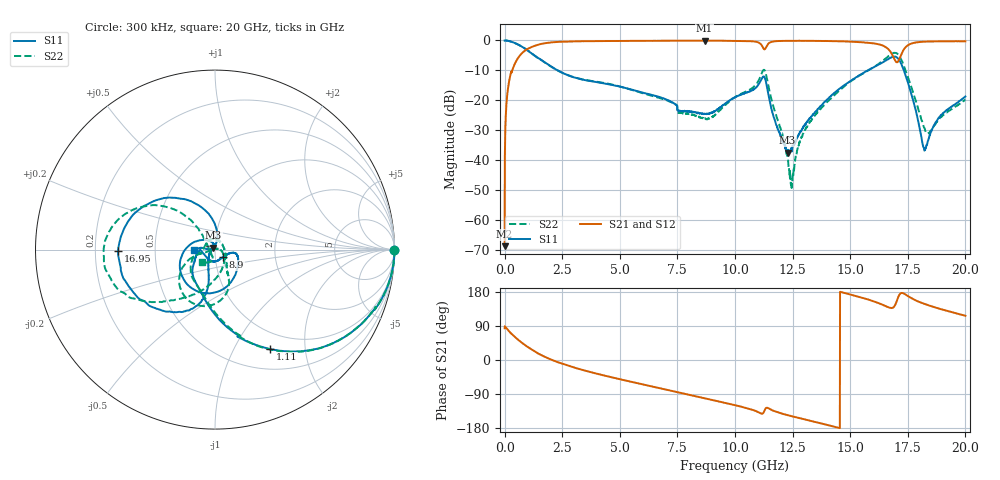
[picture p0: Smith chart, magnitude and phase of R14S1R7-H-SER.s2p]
!{R14S1R7}
!Johanson Technology Inc.
!www.johansontechnology.com
!Test Board Conditions:
!Substrate Type  RO4350B
!Substrate Thickness  20 mil
!Substrate Dk  3.66
!TL Type: GCPW
!TL Trace Width  36 mil
!TL Gap  12 mil
!Electrode orientation  Horizontal
!DUT TOPOLOGY	SERIES
!Mounting Pad LxW  26x36 mil
! Created Wed Nov 25 17:33:21 2020
! 2 Port Network Data from SP1.SP block
! freq  magS11  angS11  magS21  angS21  magS12  angS12  magS22  angS22
# khz S ma R 50
! decimated to every 10th point (10 MHz spacing) of the original 1 MHz Johanson file; values unchanged
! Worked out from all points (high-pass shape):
!   2001 points, 300 kHz to 20 GHz, reference 50 ohm
!   highest |S21| = -0.06 dB at 8.68 GHz (marker M1); lowest = -68.6 dB at 300 kHz (marker M2)
!   |S21| within 3 dB of the highest: 949.7 MHz to 16.68 GHz (15.73 GHz wide, 178 % of centre); 17.32 GHz to end of sweep
!   lowest |S11| = -37.4 dB at 12.28 GHz (marker M3), VSWR 1.03, Z = 49.1 + j0.971 ohm
!   |S11| at or under -10 dB: 2.31 GHz to 15.76 GHz (13.45 GHz wide, 149 % of centre); 17.33 GHz to end of sweep
!   |S22| runs from -49.2 to 0.0 dB; largest |S21 - S12| = 0.015
!   S11 on the Smith chart (normalised r, x): 300 kHz: open; 1.11 GHz: 0.76, -1.41; 8.9 GHz: 1.09, -0.09; 16.95 GHz: 0.30, -0.01; 20 GHz: 0.79, -0.00
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300  0.9961 -0.2  0.0003729 83.8  0.0003192 83.4  0.9985 -0.0
110300  0.9926 -8.0  0.1198 81.8  0.1203 81.8  0.9921 -8.0
200300  0.9756 -14.4  0.2145 75.4  0.2153 75.3  0.9758 -14.5
1110300  0.634 -60.9  0.759 30.3  0.7585 30.2  0.6381 -60.9
3340300  0.2245 -115.6  0.9699 -25.5  0.9707 -25.6  0.2269 -115.1
6670300  0.1157 -158.8  0.9874 -73.6  0.9884 -73.7  0.1117 -166.3
8680300  0.06048 -55.8  0.9927 -101.1  0.9915 -101.0  0.05002 33.7
8900300  0.06047 -41.9  0.9914 -104.0  0.9911 -104.0  0.05052 10.4
1.00003e7  0.1135 -10.0  0.9844 -119.2  0.9839 -119.3  0.1129 -55.1
1.09803e7  0.1756 -48.6  0.9374 -136.8  0.9364 -136.7  0.2005 -67.2
1.12803e7  0.2448 -132.5  0.7112 -133.6  0.7109 -133.4  0.3202 -116.6
1.22803e7  0.01342 132.6  0.9857 -145.5  0.9859 -145.4  0.01112 176.5
1.24703e7  0.01411 174.0  0.9854 -148.5  0.9857 -148.4  0.004221 72.2
1.27903e7  0.02772 -154.2  0.9855 -153.2  0.9876 -153.2  0.02012 12.1
1.33403e7  0.0557 -128.7  0.9853 -161.4  0.9848 -161.4  0.04906 -23.6
1.54303e7  0.2673 -102.8  0.9368 165.9  0.9422 165.7  0.2636 -113.1
1.66703e7  0.4905 -144.6  0.706 138.8  0.6954 138.7  0.5529 -152.0
1.69503e7  0.5399 -179.4  0.4626 145.0  0.4545 145.3  0.6205 -177.1
1.72603e7  0.3707 128.7  0.6394 176.7  0.6326 177.1  0.4422 146.4
1.82303e7  0.01468 130.4  0.9551 147.9  0.9553 147.5  0.03437 173.5
1.88803e7  0.05348 175.1  0.968 135.3  0.964 135.3  0.05033 -104.4
2e7  0.1165 -179.9  0.9688 116.7  0.9658 116.9  0.1031 -136.4
